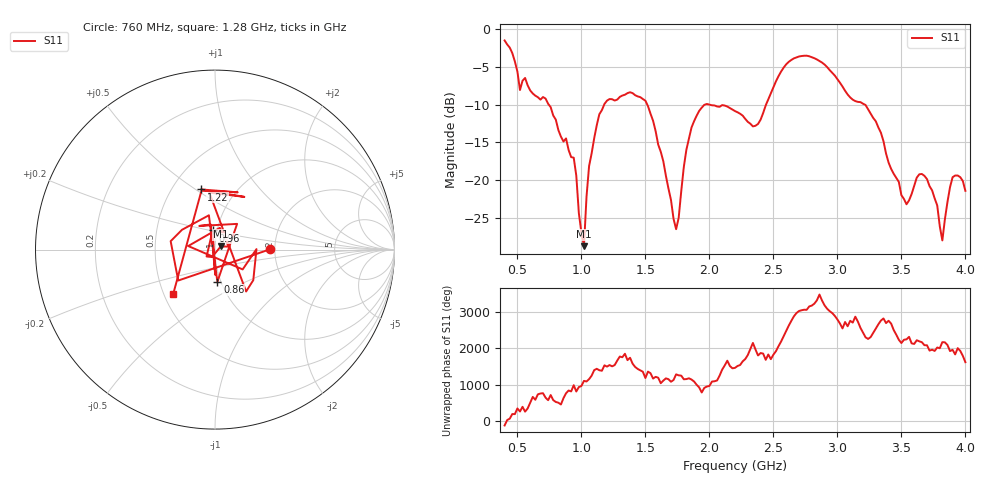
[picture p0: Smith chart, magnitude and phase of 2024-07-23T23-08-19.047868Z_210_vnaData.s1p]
!Created with skrf (http://scikit-rf.org).
# Hz S RI R 50.0
!freq ReS11 ImS11
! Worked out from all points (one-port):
!   181 points, 400 MHz to 4 GHz, reference 50 ohm
!   lowest |S11| = -28.7 dB at 1.02 GHz (marker M1), VSWR 1.08, Z = 53.3 + j1.88 ohm
!   |S11| at or under -10 dB: 1.515 GHz to 1.965 GHz (450.7 MHz wide, 25.9 % of centre); 2.001 GHz to 2.443 GHz (441.3 MHz wide, 19.9 % of centre); 3.214 GHz to end of sweep (the widest 3 of 4)
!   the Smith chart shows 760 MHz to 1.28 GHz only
!   S11 on the Smith chart (normalised r, x): 760 MHz: 1.87, +0.00; 860 MHz: 0.96, -0.36; 960 MHz: 0.95, +0.21; 1.22 GHz: 0.69, +0.53; 1.28 GHz: 0.56, -0.31
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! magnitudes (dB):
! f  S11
! 400 MHz  -1.5
! 520 MHz  -8.1
! 760 MHz  -10.3
! 860 MHz  -14.9
! 960 MHz  -19.4
! 1.02 GHz  -28.7
! 1.06 GHz  -18.1
! 1.14 GHz  -11.3
! 1.22 GHz  -9.3
! 1.28 GHz  -9.3
! 1.3 GHz  -9.0
! 1.5 GHz  -9.5
! 1.74 GHz  -26.5
! 1.76 GHz  -25.0
! 1.82 GHz  -16.0
! 1.92 GHz  -10.8
! 2.2 GHz  -10.9
! 2.38 GHz  -12.6
! 2.66 GHz  -3.9
! 2.88 GHz  -4.4
! 3.1 GHz  -9.0
! 3.3 GHz  -12.2
! 3.56 GHz  -22.7
! 3.68 GHz  -19.4
! 3.78 GHz  -23.3
! 3.82 GHz  -28.0
! 3.9 GHz  -19.6
! 4 GHz  -21.4
